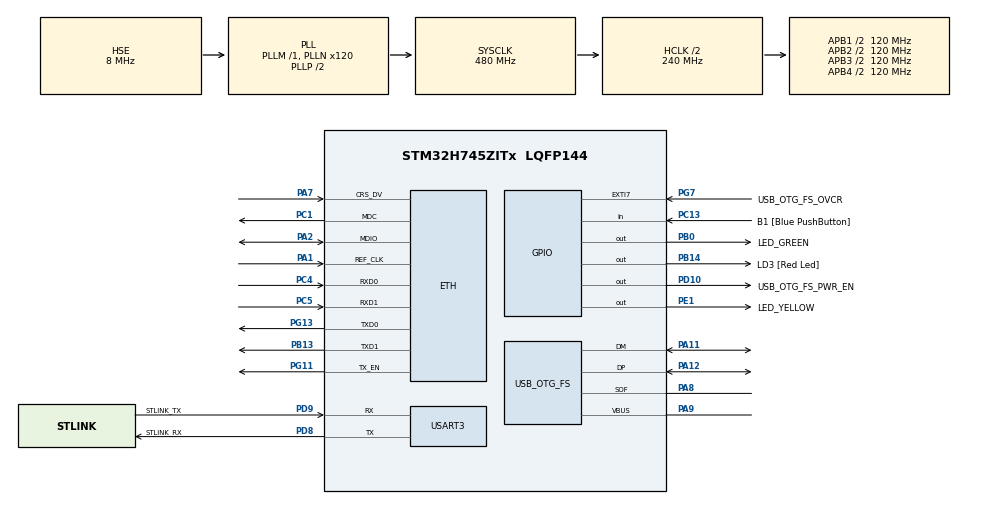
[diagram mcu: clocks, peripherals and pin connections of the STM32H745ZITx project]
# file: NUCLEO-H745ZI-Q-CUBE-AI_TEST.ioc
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CORTEX_M7.CPU_DCache=Enabled
CORTEX_M7.CPU_ICache=Enabled
CortexM4.IPs=FATFS_M4\:I,FREERTOS_M4\:I,IWDG2\:I,RCC,WWDG2\:I,DMA,BDMA,MDMA,NVIC2\:I,USART3,ETH,DEBUG,USB_DEVICE_M4\:I,USB_HOST_M4\:I,PDM2PCM_M4\:I,PWR,RESMGR_UTILITY,SYS_M4\:I,CORTEX_M4\:I,OPENAMP_M4\:I,VREFBUF,CRC
CortexM4.Pins=PE1
CortexM7.IPs=FATFS_M7\:I,FREERTOS_M7\:I,IWDG1\:I,RCC\:I,WWDG1\:I,DMA\:I,BDMA\:I,MDMA\:I,NVIC1\:I,SYS\:I,USART3\:I,USB_OTG_FS\:I,ETH\:I,CORTEX_M7\:I,DEBUG\:I,USB_DEVICE_M7\:I,USB_HOST_M7\:I,PDM2PCM_M7\:I,PWR\:I,RESMGR_UTILITY\:I,OPENAMP_M7\:I,VREFBUF\:I,STMicroelectronics.X-CUBE-AI.7.0.0_M7\:I,CRC\:I,TIM16\:I
CortexM7.Pins=PB0
ETH.MediaInterface=HAL_ETH_RMII_MODE
Mcu.Family=STM32H7
Mcu.Name=STM32H745ZITx
Mcu.Package=LQFP144
NVIC1.PriorityGroup=NVIC_PRIORITYGROUP_4
NVIC2.PriorityGroup=NVIC_PRIORITYGROUP_4
PA1.Mode=RMII
PA1.PinAttribute=CortexM7
PA1.Signal=ETH_REF_CLK
PA11.Mode=Device_Only
PA11.PinAttribute=CortexM7
PA11.Signal=USB_OTG_FS_DM
PA12.Mode=Device_Only
PA12.PinAttribute=CortexM7
PA12.Signal=USB_OTG_FS_DP
PA2.Mode=RMII
PA2.PinAttribute=CortexM7
PA2.Signal=ETH_MDIO
PA7.Mode=RMII
PA7.PinAttribute=CortexM7
PA7.Signal=ETH_CRS_DV
PA8.Mode=Activate_SOF_FS
PA8.PinAttribute=CortexM7
PA8.Signal=USB_OTG_FS_SOF
PA9.Mode=Activate_VBUS
PA9.PinAttribute=CortexM7
PA9.Signal=USB_OTG_FS_VBUS
PB0.GPIO_Label=LED_GREEN
PB0.PinAttribute=CortexM7
PB0.Signal=GPIO_Output
PB13.Mode=RMII
PB13.PinAttribute=CortexM7
PB13.Signal=ETH_TXD1
PB14.GPIO_Label=LD3 [Red Led]
PB14.PinAttribute=Free
PB14.Signal=GPIO_Output
PC1.Mode=RMII
PC1.PinAttribute=CortexM7
PC1.Signal=ETH_MDC
PC13.GPIO_Label=B1 [Blue PushButton]
PC13.PinAttribute=Free
PC13.Signal=GPIO_Input
PC14-OSC32_IN\ (OSC32_IN).Mode=LSE-External-Oscillator
PC14-OSC32_IN\ (OSC32_IN).PinAttribute=CortexM7
PC14-OSC32_IN\ (OSC32_IN).Signal=RCC_OSC32_IN
PC15-OSC32_OUT\ (OSC32_OUT).Mode=LSE-External-Oscillator
PC15-OSC32_OUT\ (OSC32_OUT).PinAttribute=CortexM7
PC15-OSC32_OUT\ (OSC32_OUT).Signal=RCC_OSC32_OUT
PC4.Mode=RMII
PC4.PinAttribute=CortexM7
PC4.Signal=ETH_RXD0
PC5.Mode=RMII
PC5.PinAttribute=CortexM7
PC5.Signal=ETH_RXD1
PD10.GPIO_Label=USB_OTG_FS_PWR_EN
PD10.PinAttribute=Free
PD10.Signal=GPIO_Output
PD8.GPIO_Label=STLINK_RX
PD8.Mode=Asynchronous
PD8.PinAttribute=CortexM7
PD8.Signal=USART3_TX
PD9.GPIO_Label=STLINK_TX
PD9.Mode=Asynchronous
PD9.PinAttribute=CortexM7
PD9.Signal=USART3_RX
PE1.GPIO_Label=LED_YELLOW
PE1.PinAttribute=CortexM4
PE1.Signal=GPIO_Output
PG11.Mode=RMII
PG11.PinAttribute=CortexM7
PG11.Signal=ETH_TX_EN
PG13.Mode=RMII
PG13.PinAttribute=CortexM7
PG13.Signal=ETH_TXD0
PG7.GPIO_Label=USB_OTG_FS_OVCR
PG7.PinAttribute=Free
PG7.Signal=GPXTI7
PH0-OSC_IN\ (PH0).Mode=HSE-External-Clock-Source
PH0-OSC_IN\ (PH0).PinAttribute=CortexM7
PH0-OSC_IN\ (PH0).Signal=RCC_OSC_IN
PH1-OSC_OUT\ (PH1).PinAttribute=CortexM7
PH1-OSC_OUT\ (PH1).Signal=RCC_OSC_OUT
ProjectManager.HeapSize=M4-0x200,M7-0x2000
ProjectManager.StackSize=M4-0x400,M7-0x400
ProjectManager.TargetToolchain=STM32CubeIDE
RCC.ADCFreq_Value=16125000
RCC.APB1Freq_Value=120000000
RCC.APB2Freq_Value=120000000
RCC.APB3Freq_Value=120000000
RCC.APB4Freq_Value=120000000
RCC.CortexFreq_Value=480000000
RCC.D1PPRE=RCC_APB3_DIV2
RCC.D2PPRE1=RCC_APB1_DIV2
RCC.D2PPRE2=RCC_APB2_DIV2
RCC.D3PPRE=RCC_APB4_DIV2
RCC.DIVM1=1
RCC.DIVM3=1
RCC.DIVN1=120
RCC.DIVN3=24
RCC.DIVQ3=4
RCC.HCLKFreq_Value=240000000
RCC.HPRE=RCC_HCLK_DIV2
RCC.HSE_VALUE=8000000
RCC.PLL2FRACN=0
RCC.PLL3FRACN=0
RCC.PLLFRACN=0
RCC.SYSCLKFreq_VALUE=480000000
RCC.SYSCLKSource=RCC_SYSCLKSOURCE_PLLCLK
RCC.SupplySource=PWR_DIRECT_SMPS_SUPPLY
RCC.USBCLockSelection=RCC_USBCLKSOURCE_PLL3
RCC.USBFreq_Value=48000000
STMicroelectronics.X-CUBE-AI.7.0.0_M7.ActivationBufferSizeList=1032
STMicroelectronics.X-CUBE-AI.7.0.0_M7.HeapSize=0x2000
STMicroelectronics.X-CUBE-AI.7.0.0_M7.InternalRamActivationBufferMaxSize=AI_SINE_MODEL_DATA_ACTIVATIONS_SIZE
STMicroelectronics.X-CUBE-AI.7.0.0_M7.LatestDirectoryUsed-faeb5c68c0b9ec5706914f17805ea525aec0f5a683f1e2a46d9cd67cb3a5336a=C\:\\Users\\robin\\OneDrive\\Hochschule\\Master\\Masterarbeit\\Programme\\tflite_download_files
STMicroelectronics.X-CUBE-AI.7.0.0_M7.MaximumNumberOfInputLayer=1
STMicroelectronics.X-CUBE-AI.7.0.0_M7.MaximumNumberOfOutputLayer=1
STMicroelectronics.X-CUBE-AI.7.0.0_M7.MaximumSizeOfInputLayer=AI_SINE_MODEL_IN_1_SIZE_BYTES
STMicroelectronics.X-CUBE-AI.7.0.0_M7.MaximumSizeOfOutputLayer=AI_SINE_MODEL_OUT_1_SIZE_BYTES
STMicroelectronics.X-CUBE-AI.7.0.0_M7.ModelActualCompression-faeb5c68c0b9ec5706914f17805ea525aec0f5a683f1e2a46d9cd67cb3a5336a=0.0
STMicroelectronics.X-CUBE-AI.7.0.0_M7.ModelCompression-faeb5c68c0b9ec5706914f17805ea525aec0f5a683f1e2a46d9cd67cb3a5336a=1
STMicroelectronics.X-CUBE-AI.7.0.0_M7.ModelFlashOccupation-faeb5c68c0b9ec5706914f17805ea525aec0f5a683f1e2a46d9cd67cb3a5336a=100356
STMicroelectronics.X-CUBE-AI.7.0.0_M7.ModelHashList=faeb5c68c0b9ec5706914f17805ea525aec0f5a683f1e2a46d9cd67cb3a5336a
STMicroelectronics.X-CUBE-AI.7.0.0_M7.ModelKind-faeb5c68c0b9ec5706914f17805ea525aec0f5a683f1e2a46d9cd67cb3a5336a=TFLITE
STMicroelectronics.X-CUBE-AI.7.0.0_M7.ModelMacc-faeb5c68c0b9ec5706914f17805ea525aec0f5a683f1e2a46d9cd67cb3a5336a=25409
STMicroelectronics.X-CUBE-AI.7.0.0_M7.ModelName-faeb5c68c0b9ec5706914f17805ea525aec0f5a683f1e2a46d9cd67cb3a5336a=sine_model
STMicroelectronics.X-CUBE-AI.7.0.0_M7.ModelNameList=sine_model
STMicroelectronics.X-CUBE-AI.7.0.0_M7.ModelRamOccupation-faeb5c68c0b9ec5706914f17805ea525aec0f5a683f1e2a46d9cd67cb3a5336a=1032
STMicroelectronics.X-CUBE-AI.7.0.0_M7.ModelStructureFile-faeb5c68c0b9ec5706914f17805ea525aec0f5a683f1e2a46d9cd67cb3a5336a=C\:\\Users\\robin\\OneDrive\\Hochschule\\Master\\Masterarbeit\\Programme\\tflite_download_files\\model_no_quant.tflite
STMicroelectronics.X-CUBE-AI.7.0.0_M7.ModelType-faeb5c68c0b9ec5706914f17805ea525aec0f5a683f1e2a46d9cd67cb3a5336a=STM32Cube.AI runtime
STMicroelectronics.X-CUBE-AI.7.0.0_M7.ReadyForCodeGeneration=true
STMicroelectronics.X-CUBE-AI.7.0.0_M7.StackSize=0x800
STMicroelectronics.X-CUBE-AI.7.0.0_M7.WorkingBufferStartAddrList=0xFFFFFFFF
STMicroelectronics.X-CUBE-AI.7.0.0_M7.XAaCUBEAaAICcArtificialOoIntelligenceJjCore=true
STMicroelectronics.X-CUBE-AI.7.0.0_M7.copyWeightToRam-faeb5c68c0b9ec5706914f17805ea525aec0f5a683f1e2a46d9cd67cb3a5336a=false
STMicroelectronics.X-CUBE-AI.7.0.0_M7.customLayerConfigEnabled-faeb5c68c0b9ec5706914f17805ea525aec0f5a683f1e2a46d9cd67cb3a5336a=false
TIM16.Period=65535-1
TIM16.Prescaler=240-1
USART3.VirtualMode-Asynchronous=VM_ASYNC
USB_OTG_FS.VirtualMode=Device_Only
VP_CRC_VS_CRC.Mode=CRC_Activate
VP_STMicroelectronics.X-CUBE-AI_M7_VS_ArtificialOoIntelligenceJjXAaCUBEAaAI_7.0.0.Mode=ArtificialOoIntelligenceJjXAaCUBEAaAI
VP_SYS_M4_VS_Systick.Mode=SysTick
VP_TIM16_VS_ClockSourceINT.Mode=Enable_Timer
board=NUCLEO-H745ZI-Q

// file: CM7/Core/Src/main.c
/* USER CODE BEGIN Header */
/**
  ******************************************************************************
  * @file           : main.c
  * @brief          : Main program body
  ******************************************************************************
  * @attention
  *
  * <h2><center>&copy; Copyright (c) 2021 STMicroelectronics.
  * All rights reserved.</center></h2>
  *
  * This software component is licensed by ST under BSD 3-Clause license,
  * the "License"; You may not use this file except in compliance with the
  * License. You may obtain a copy of the License at:
  *                        opensource.org/licenses/BSD-3-Clause
  *
  ******************************************************************************
  */
/* USER CODE END Header */
#include "main.h"
#include "string.h"

/* USER CODE BEGIN Includes */

#include "stdio.h"
#include "string.h"

#include "sine_model.h"
#include "sine_model_data.h"

/* USER CODE END Includes */

/* USER CODE BEGIN PD */

#ifndef HSEM_ID_0
#define HSEM_ID_0 (0U) /* HW semaphore 0*/
#endif
/* USER CODE END PD */

#if defined ( __ICCARM__ ) /*!< IAR Compiler */

#pragma location=0x30040000
ETH_DMADescTypeDef  DMARxDscrTab[ETH_RX_DESC_CNT]; /* Ethernet Rx DMA Descriptors */
#pragma location=0x30040060
ETH_DMADescTypeDef  DMATxDscrTab[ETH_TX_DESC_CNT]; /* Ethernet Tx DMA Descriptors */
#pragma location=0x30040200
uint8_t Rx_Buff[ETH_RX_DESC_CNT][ETH_MAX_PACKET_SIZE]; /* Ethernet Receive Buffers */

#elif defined ( __CC_ARM )  /* MDK ARM Compiler */

__attribute__((at(0x30040000))) ETH_DMADescTypeDef  DMARxDscrTab[ETH_RX_DESC_CNT]; /* Ethernet Rx DMA Descriptors */
__attribute__((at(0x30040060))) ETH_DMADescTypeDef  DMATxDscrTab[ETH_TX_DESC_CNT]; /* Ethernet Tx DMA Descriptors */
__attribute__((at(0x30040200))) uint8_t Rx_Buff[ETH_RX_DESC_CNT][ETH_MAX_PACKET_SIZE]; /* Ethernet Receive Buffer */

#elif defined ( __GNUC__ ) /* GNU Compiler */

ETH_DMADescTypeDef DMARxDscrTab[ETH_RX_DESC_CNT] __attribute__((section(".RxDecripSection"))); /* Ethernet Rx DMA Descriptors */
ETH_DMADescTypeDef DMATxDscrTab[ETH_TX_DESC_CNT] __attribute__((section(".TxDecripSection")));   /* Ethernet Tx DMA Descriptors */
uint8_t Rx_Buff[ETH_RX_DESC_CNT][ETH_MAX_PACKET_SIZE] __attribute__((section(".RxArraySection"))); /* Ethernet Receive Buffers */

#endif

ETH_TxPacketConfig TxConfig;

CRC_HandleTypeDef hcrc;

ETH_HandleTypeDef heth;

TIM_HandleTypeDef htim16;

UART_HandleTypeDef huart3;

PCD_HandleTypeDef hpcd_USB_OTG_FS;

void SystemClock_Config(void);
static void MX_GPIO_Init(void);
static void MX_ETH_Init(void);
static void MX_USART3_UART_Init(void);
static void MX_USB_OTG_FS_PCD_Init(void);
static void MX_CRC_Init(void);
static void MX_TIM16_Init(void);

int main(void)
{
/* USER CODE BEGIN Boot_Mode_Sequence_0 */
  int32_t timeout;
/* USER CODE END Boot_Mode_Sequence_0 */

  /* Enable I-Cache---------------------------------------------------------*/
  SCB_EnableICache();

  /* Enable D-Cache---------------------------------------------------------*/
  SCB_EnableDCache();

/* USER CODE BEGIN Boot_Mode_Sequence_1 */
  /* Wait until CPU2 boots and enters in stop mode or timeout*/
  timeout = 0xFFFF;
  while((__HAL_RCC_GET_FLAG(RCC_FLAG_D2CKRDY) != RESET) && (timeout-- > 0));
  if ( timeout < 0 )
  {
  Error_Handler();
  }
/* USER CODE END Boot_Mode_Sequence_1 */
  /* MCU Configuration--------------------------------------------------------*/

  /* Reset of all peripherals, Initializes the Flash interface and the Systick. */
  HAL_Init();

  /* Configure the system clock */
  SystemClock_Config();
/* USER CODE BEGIN Boot_Mode_Sequence_2 */
/* When system initialization is finished, Cortex-M7 will release Cortex-M4 by means of
HSEM notification */
/*HW semaphore Clock enable*/
__HAL_RCC_HSEM_CLK_ENABLE();
/*Take HSEM */
HAL_HSEM_FastTake(HSEM_ID_0);
/*Release HSEM in order to notify the CPU2(CM4)*/
HAL_HSEM_Release(HSEM_ID_0,0);
/* wait until CPU2 wakes up from stop mode */
timeout = 0xFFFF;
while((__HAL_RCC_GET_FLAG(RCC_FLAG_D2CKRDY) == RESET) && (timeout-- > 0));
if ( timeout < 0 )
{
Error_Handler();
}
/* USER CODE END Boot_Mode_Sequence_2 */

  /* Initialize all configured peripherals */
  MX_GPIO_Init();
  MX_ETH_Init();
  MX_USART3_UART_Init();
  MX_USB_OTG_FS_PCD_Init();
  MX_CRC_Init();
  MX_TIM16_Init();
  /* USER CODE BEGIN 2 */

  	// index to iterate through main loop
	int idx = 0;

	// buffer for uart text
	char buf[1000];
	int buf_len = 0;

	// set timer variable and start timer
	uint32_t time_stamp;
	uint32_t time_stamp_last;
	uint32_t time_val;
	HAL_TIM_Base_Start(&htim16);

	// IO variables
	float in_val;
	float predicted_out;
	float actual_out;

	// Pointer to the model
	static ai_handle sine_model = AI_HANDLE_NULL;

	// Chunk of memory used to hold intermediate values for neural network
	AI_ALIGNED(32) ai_u8 activations[AI_SINE_MODEL_DATA_ACTIVATIONS_SIZE];

	// Buffers used to store input and output tensors
	AI_ALIGNED(32) ai_u64 in_data[AI_SINE_MODEL_IN_1_SIZE_BYTES];
	AI_ALIGNED(32) ai_u64 out_data[AI_SINE_MODEL_OUT_1_SIZE_BYTES];

	ai_i32 n_batch;

	// Initialize wrapper structs that hold pointers to data and info about the data (tensor height, width, channels)
	ai_buffer ai_input[AI_SINE_MODEL_IN_NUM] = AI_SINE_MODEL_IN;
	ai_buffer ai_output[AI_SINE_MODEL_OUT_NUM] = AI_SINE_MODEL_OUT;

	// Set pointers wrapper structs to our data buffers
	ai_input[0].n_batches = 1;
	ai_input[0].data = AI_HANDLE_PTR(in_data);
	ai_output[0].n_batches = 1;
	ai_output[0].data = AI_HANDLE_PTR(out_data);

	// Set working memory and get weights/biases from model
	ai_network_params ai_params = {AI_NETWORK_PARAMS_INIT(
			AI_SINE_MODEL_DATA_WEIGHTS(ai_sine_model_data_weights_get()),
			AI_SINE_MODEL_DATA_ACTIVATIONS(activations))};

	// Create instance of neural network
	ai_error ai_err = ai_sine_model_create(&sine_model, AI_SINE_MODEL_DATA_CONFIG);
	if (ai_err.type != AI_ERROR_NONE)
	{
		buf_len = sprintf(buf, "Error: could not create NN instance\r\n");
		HAL_UART_Transmit(&huart3, (uint8_t *)buf, buf_len, 100);
		while(1);
	}

	// Initialize neural network
	if (!ai_sine_model_init(sine_model, &ai_params))
	{
		buf_len = sprintf(buf, "Error: could not initialize NN\r\n");
		HAL_UART_Transmit(&huart3, (uint8_t *)buf, buf_len, 100);
		while(1);
	}

	// Define function to run inference
	float run_inference(float input)
	{
		// Fill input buffer
		for (uint32_t i = 0; i < AI_SINE_MODEL_IN_1_SIZE; i++)
		{
			((ai_float *)in_data)[i] = (ai_float)input;
		}

		// Perform inference
		n_batch = ai_sine_model_run(sine_model, &ai_input[0], &ai_output[0]);
		if (n_batch != 1)
		{
			buf_len = sprintf(buf, "Error: could not run inference\r\n");
			HAL_UART_Transmit(&huart3, (uint8_t *)buf, buf_len, 100);
			return 0;
		}

		// Read output (prediction) of network and return
		return ((float *)out_data)[0];
	}

	// Say Hello
	buf_len = sprintf(buf, "\n\nSTM32 TensorFlow Lite test\r\n");
	HAL_UART_Transmit(&huart3, (uint8_t *)buf, buf_len, 100);

  /* USER CODE END 2 */

  /* Infinite loop */
  /* USER CODE BEGIN WHILE */
  while (1)
  {
	// Calculate input
	in_val = ((idx++)%16)*M_PI*0.125;

	// Calculate real output
	actual_out = sin(in_val);

	// Get current timestamp
	time_stamp_last = __HAL_TIM_GET_COUNTER(&htim16);

	// performe Infrence and get output
	predicted_out = run_inference(in_val);

	// calculate inference time in micro seconds
	time_stamp = __HAL_TIM_GET_COUNTER(&htim16);
	time_val = (time_stamp_last>time_stamp) ? htim16.Init.Period-time_stamp_last+time_stamp : time_stamp-time_stamp_last;

	// Print output of neural network
	buf_len = sprintf(buf, "in_val: %f | predicted_out: %f | actual_out: %f | Inference Time: %lu us\r\n", in_val, predicted_out, actual_out, time_val);
	HAL_UART_Transmit(&huart3, (uint8_t *)buf, buf_len, 100);

	// toggel LED and wait a second
	HAL_GPIO_TogglePin(LED_GREEN_GPIO_Port, LED_GREEN_Pin);
	HAL_Delay(1000);

    /* USER CODE END WHILE */

  }
}

void SystemClock_Config(void)
{
  RCC_OscInitTypeDef RCC_OscInitStruct = {0};
  RCC_ClkInitTypeDef RCC_ClkInitStruct = {0};

  /** Supply configuration update enable
  */
  HAL_PWREx_ConfigSupply(PWR_DIRECT_SMPS_SUPPLY);
  /** Configure the main internal regulator output voltage
  */
  __HAL_PWR_VOLTAGESCALING_CONFIG(PWR_REGULATOR_VOLTAGE_SCALE0);

  while(!__HAL_PWR_GET_FLAG(PWR_FLAG_VOSRDY)) {}
  /** Macro to configure the PLL clock source
  */
  __HAL_RCC_PLL_PLLSOURCE_CONFIG(RCC_PLLSOURCE_HSE);
  /** Initializes the RCC Oscillators according to the specified parameters
  * in the RCC_OscInitTypeDef structure.
  */
  RCC_OscInitStruct.OscillatorType = RCC_OSCILLATORTYPE_HSE;
  RCC_OscInitStruct.HSEState = RCC_HSE_BYPASS;
  RCC_OscInitStruct.PLL.PLLState = RCC_PLL_ON;
  RCC_OscInitStruct.PLL.PLLSource = RCC_PLLSOURCE_HSE;
  RCC_OscInitStruct.PLL.PLLM = 1;
  RCC_OscInitStruct.PLL.PLLN = 120;
  RCC_OscInitStruct.PLL.PLLP = 2;
  RCC_OscInitStruct.PLL.PLLQ = 2;
  RCC_OscInitStruct.PLL.PLLR = 2;
  RCC_OscInitStruct.PLL.PLLRGE = RCC_PLL1VCIRANGE_3;
  RCC_OscInitStruct.PLL.PLLVCOSEL = RCC_PLL1VCOWIDE;
  RCC_OscInitStruct.PLL.PLLFRACN = 0;
  if (HAL_RCC_OscConfig(&RCC_OscInitStruct) != HAL_OK)
  {
    Error_Handler();
  }
  /** Initializes the CPU, AHB and APB buses clocks
  */
  RCC_ClkInitStruct.ClockType = RCC_CLOCKTYPE_HCLK|RCC_CLOCKTYPE_SYSCLK
                              |RCC_CLOCKTYPE_PCLK1|RCC_CLOCKTYPE_PCLK2
                              |RCC_CLOCKTYPE_D3PCLK1|RCC_CLOCKTYPE_D1PCLK1;
  RCC_ClkInitStruct.SYSCLKSource = RCC_SYSCLKSOURCE_PLLCLK;
  RCC_ClkInitStruct.SYSCLKDivider = RCC_SYSCLK_DIV1;
  RCC_ClkInitStruct.AHBCLKDivider = RCC_HCLK_DIV2;
  RCC_ClkInitStruct.APB3CLKDivider = RCC_APB3_DIV2;
  RCC_ClkInitStruct.APB1CLKDivider = RCC_APB1_DIV2;
  RCC_ClkInitStruct.APB2CLKDivider = RCC_APB2_DIV2;
  RCC_ClkInitStruct.APB4CLKDivider = RCC_APB4_DIV2;

  if (HAL_RCC_ClockConfig(&RCC_ClkInitStruct, FLASH_LATENCY_4) != HAL_OK)
  {
    Error_Handler();
  }
}

static void MX_CRC_Init(void)
{

  hcrc.Instance = CRC;
  hcrc.Init.DefaultPolynomialUse = DEFAULT_POLYNOMIAL_ENABLE;
  hcrc.Init.DefaultInitValueUse = DEFAULT_INIT_VALUE_ENABLE;
  hcrc.Init.InputDataInversionMode = CRC_INPUTDATA_INVERSION_NONE;
  hcrc.Init.OutputDataInversionMode = CRC_OUTPUTDATA_INVERSION_DISABLE;
  hcrc.InputDataFormat = CRC_INPUTDATA_FORMAT_BYTES;
  if (HAL_CRC_Init(&hcrc) != HAL_OK)
  {
    Error_Handler();
  }

}

static void MX_ETH_Init(void)
{

   static uint8_t MACAddr[6];

  heth.Instance = ETH;
  MACAddr[0] = 0x00;
  MACAddr[1] = 0x80;
  MACAddr[2] = 0xE1;
  MACAddr[3] = 0x00;
  MACAddr[4] = 0x00;
  MACAddr[5] = 0x00;
  heth.Init.MACAddr = &MACAddr[0];
  heth.Init.MediaInterface = HAL_ETH_RMII_MODE;
  heth.Init.TxDesc = DMATxDscrTab;
  heth.Init.RxDesc = DMARxDscrTab;
  heth.Init.RxBuffLen = 1524;

  if (HAL_ETH_Init(&heth) != HAL_OK)
  {
    Error_Handler();
  }

  memset(&TxConfig, 0 , sizeof(ETH_TxPacketConfig));
  TxConfig.Attributes = ETH_TX_PACKETS_FEATURES_CSUM | ETH_TX_PACKETS_FEATURES_CRCPAD;
  TxConfig.ChecksumCtrl = ETH_CHECKSUM_IPHDR_PAYLOAD_INSERT_PHDR_CALC;
  TxConfig.CRCPadCtrl = ETH_CRC_PAD_INSERT;

}

static void MX_TIM16_Init(void)
{

  htim16.Instance = TIM16;
  htim16.Init.Prescaler = 240-1;
  htim16.Init.CounterMode = TIM_COUNTERMODE_UP;
  htim16.Init.Period = 65535-1;
  htim16.Init.ClockDivision = TIM_CLOCKDIVISION_DIV1;
  htim16.Init.RepetitionCounter = 0;
  htim16.Init.AutoReloadPreload = TIM_AUTORELOAD_PRELOAD_DISABLE;
  if (HAL_TIM_Base_Init(&htim16) != HAL_OK)
  {
    Error_Handler();
  }

}

static void MX_USART3_UART_Init(void)
{

  huart3.Instance = USART3;
  huart3.Init.BaudRate = 115200;
  huart3.Init.WordLength = UART_WORDLENGTH_8B;
  huart3.Init.StopBits = UART_STOPBITS_1;
  huart3.Init.Parity = UART_PARITY_NONE;
  huart3.Init.Mode = UART_MODE_TX_RX;
  huart3.Init.HwFlowCtl = UART_HWCONTROL_NONE;
  huart3.Init.OverSampling = UART_OVERSAMPLING_16;
  huart3.Init.OneBitSampling = UART_ONE_BIT_SAMPLE_DISABLE;
  huart3.Init.ClockPrescaler = UART_PRESCALER_DIV1;
  huart3.AdvancedInit.AdvFeatureInit = UART_ADVFEATURE_NO_INIT;
  if (HAL_UART_Init(&huart3) != HAL_OK)
  {
    Error_Handler();
  }
  if (HAL_UARTEx_SetTxFifoThreshold(&huart3, UART_TXFIFO_THRESHOLD_1_8) != HAL_OK)
  {
    Error_Handler();
  }
  if (HAL_UARTEx_SetRxFifoThreshold(&huart3, UART_RXFIFO_THRESHOLD_1_8) != HAL_OK)
  {
    Error_Handler();
  }
  if (HAL_UARTEx_DisableFifoMode(&huart3) != HAL_OK)
  {
    Error_Handler();
  }

}

static void MX_USB_OTG_FS_PCD_Init(void)
{

  hpcd_USB_OTG_FS.Instance = USB_OTG_FS;
  hpcd_USB_OTG_FS.Init.dev_endpoints = 9;
  hpcd_USB_OTG_FS.Init.speed = PCD_SPEED_FULL;
  hpcd_USB_OTG_FS.Init.dma_enable = DISABLE;
  hpcd_USB_OTG_FS.Init.phy_itface = PCD_PHY_EMBEDDED;
  hpcd_USB_OTG_FS.Init.Sof_enable = DISABLE;
  hpcd_USB_OTG_FS.Init.low_power_enable = DISABLE;
  hpcd_USB_OTG_FS.Init.lpm_enable = DISABLE;
  hpcd_USB_OTG_FS.Init.battery_charging_enable = ENABLE;
  hpcd_USB_OTG_FS.Init.vbus_sensing_enable = ENABLE;
  hpcd_USB_OTG_FS.Init.use_dedicated_ep1 = DISABLE;
  if (HAL_PCD_Init(&hpcd_USB_OTG_FS) != HAL_OK)
  {
    Error_Handler();
  }

}

static void MX_GPIO_Init(void)
{
  GPIO_InitTypeDef GPIO_InitStruct = {0};

  /* GPIO Ports Clock Enable */
  __HAL_RCC_GPIOC_CLK_ENABLE();
  __HAL_RCC_GPIOH_CLK_ENABLE();
  __HAL_RCC_GPIOA_CLK_ENABLE();
  __HAL_RCC_GPIOB_CLK_ENABLE();
  __HAL_RCC_GPIOD_CLK_ENABLE();
  __HAL_RCC_GPIOG_CLK_ENABLE();

  /*Configure GPIO pin Output Level */
  HAL_GPIO_WritePin(LED_GREEN_GPIO_Port, LED_GREEN_Pin, GPIO_PIN_RESET);

  /*Configure GPIO pin : LED_GREEN_Pin */
  GPIO_InitStruct.Pin = LED_GREEN_Pin;
  GPIO_InitStruct.Mode = GPIO_MODE_OUTPUT_PP;
  GPIO_InitStruct.Pull = GPIO_NOPULL;
  GPIO_InitStruct.Speed = GPIO_SPEED_FREQ_LOW;
  HAL_GPIO_Init(LED_GREEN_GPIO_Port, &GPIO_InitStruct);

}

void Error_Handler(void)
{
  __disable_irq();
  while (1)
  {
  }
}

/************************ (C) COPYRIGHT STMicroelectronics *****END OF FILE****/
